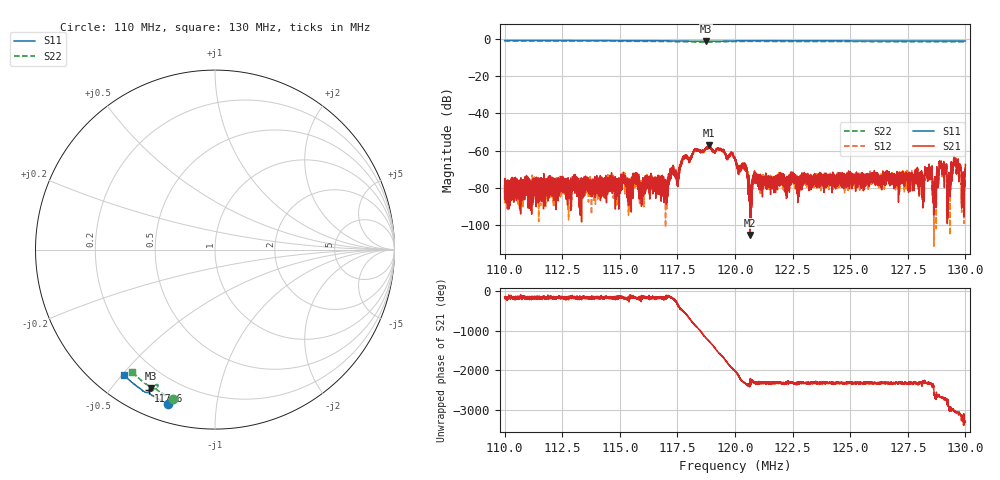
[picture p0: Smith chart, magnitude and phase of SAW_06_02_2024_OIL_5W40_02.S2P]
!Agilent Technologies,E5071C,MY46520923,B.12.03
!Date: Wed Feb 07 10:40:21 2024
!Data & Calibration Information:
!Freq	S11:SOLT2(ON)	S21:SOLT2(ON)	S12:SOLT2(ON)	S22:SOLT2(ON)
!PortZ  Port1:50+j0  Port2:50+j0
!Above PortZ is port z conversion or system Z0 setting when saving the data.
!When reading, reference impedance value at option line is always used.
# Hz S dB R 50
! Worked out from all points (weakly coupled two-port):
!   10000 points, 110 MHz to 130 MHz, reference 50 ohm
!   highest |S21| = -57.19 dB at 118.9 MHz (marker M1); lowest = -105.2 dB at 120.7 MHz (marker M2)
!   lowest |S11| = -1.4 dB at 118.7 MHz (marker M3), VSWR 12.38, Z = 5.67 - j31.7 ohm
!   |S11| at or under -10 dB: nowhere
!   |S22| runs from -1.7 to -1.3 dB; largest |S21 - S12| = 0.00019
!   S11 on the Smith chart (normalised r, x): 110 MHz: 0.08, -0.74; 117.6 MHz: 0.10, -0.63; 130 MHz: 0.09, -0.51
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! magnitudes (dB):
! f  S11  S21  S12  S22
! 110 MHz  -0.9  -82.1  -76.3  -1.3
! 113.3 MHz  -1.0  -79.8  -82.4  -1.3
! 116.7 MHz  -1.1  -73.1  -77.4  -1.5
! 117 MHz  -1.1  -75.9  -78.4  -1.5
! 117.6 MHz  -1.2  -72.1  -70.5  -1.6
! 117.8 MHz  -1.3  -64.4  -63.4  -1.7
! 118.7 MHz  -1.4  -58.9  -59.0  -1.7
! 118.9 MHz  -1.4  -57.2  -57.5  -1.7
! 120 MHz  -1.2  -64.6  -64.7  -1.5
! 120.4 MHz  -1.1  -68.0  -68.0  -1.4
! 120.7 MHz  -1.1  -105.2  -93.5  -1.4
! 120.9 MHz  -1.1  -73.8  -72.5  -1.4
! 123.3 MHz  -1.1  -77.2  -74.3  -1.5
! 126.7 MHz  -1.2  -72.3  -73.5  -1.6
! 128.1 MHz  -1.2  -83.0  -77.1  -1.6
! 128.5 MHz  -1.2  -73.3  -74.4  -1.6
! 128.7 MHz  -1.2  -78.5  -78.9  -1.7
! 129 MHz  -1.2  -67.4  -68.0  -1.7
! 129.3 MHz  -1.3  -74.5  -74.5  -1.7
! 129.6 MHz  -1.3  -65.4  -65.1  -1.7
! 129.9 MHz  -1.3  -73.2  -74.7  -1.7
! 130 MHz  -1.3  -67.4  -67.6  -1.7
